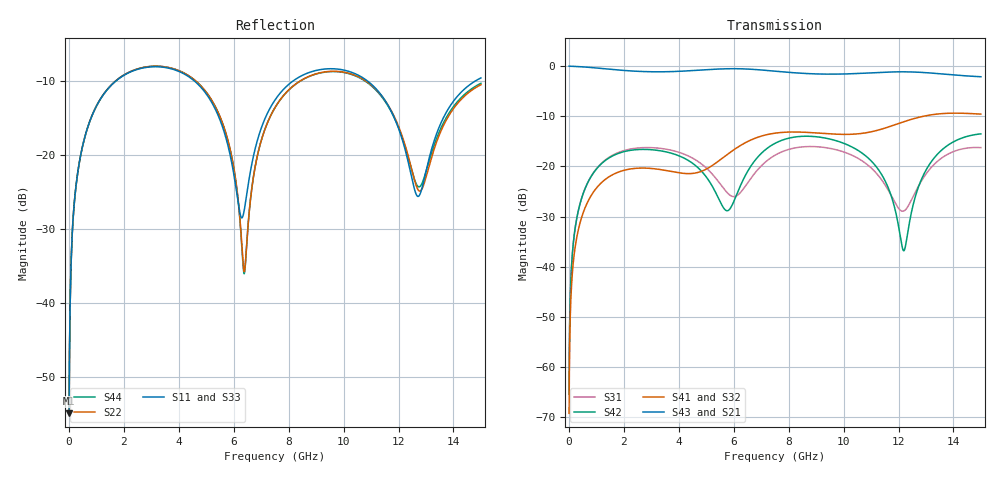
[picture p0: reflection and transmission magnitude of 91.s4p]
! Created with skrf 1.8.0 (http://scikit-rf.org).
# GHz S RI R 50.0
!freq ReS11 ImS11 ReS12 ImS12 ReS13 ImS13
! ReS14 ImS14
! ReS21 ImS21 ReS22 ImS22 ReS23 ImS23
! ReS24 ImS24
! ReS31 ImS31 ReS32 ImS32 ReS33 ImS33
! ReS34 ImS34
! ReS41 ImS41 ReS42 ImS42 ReS43 ImS43
! ReS44 ImS44
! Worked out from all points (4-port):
!   2499 points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, 5 MHz to 15 GHz, reference 50 ohm
!   strongest paths, dB at 5 MHz, 3.476 GHz, 7.19 GHz, 11.1 GHz, 15 GHz:
!     S43: 0.0, -1.1, -0.9, -1.3, -2.1
!     S21: 0.0, -1.1, -0.9, -1.3, -2.1
!     S41: -69.2, -20.7, -13.7, -13.0, -9.6
!     S32: -69.2, -20.8, -13.7, -13.0, -9.6
!     S42: -65.3, -17.0, -16.5, -19.4, -13.5
!     S31: -65.3, -16.5, -18.9, -20.8, -16.2
!   lowest |S11| = -55.0 dB at 5 MHz (marker M1), VSWR 1.00, Z = 50.1 + j0.109 ohm
!   |S11| at or under -10 dB: start of sweep to 1.711 GHz; 4.564 GHz to 8.163 GHz (3.599 GHz wide, 56.6 % of centre); 10.87 GHz to 14.8 GHz (3.934 GHz wide, 30.7 % of centre)
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0.005  0.00142 0.00108  0.9986 -0.00276  6.99e-05 0.000539  -6.8e-05 -0.000341
       0.9986 -0.00276  0.00142 0.00108  -6.8e-05 -0.000341  6.97e-05 0.000539
       6.99e-05 0.000539  -6.8e-05 -0.000341  0.00142 0.00108  0.9986 -0.00276
       -6.8e-05 -0.000341  6.97e-05 0.000539  0.9986 -0.00276  0.00142 0.00108
0.3626511  0.0235 0.0823  0.9677 -0.199  0.0109 0.037  -0.00884 -0.0232
           0.9677 -0.199  0.0236 0.0823  -0.00883 -0.0232  0.0102 0.0372
           0.0109 0.037  -0.00883 -0.0232  0.0235 0.0823  0.9677 -0.199
           -0.00884 -0.0232  0.0102 0.0372  0.9677 -0.199  0.0236 0.0823
1.619545  0.2387 0.1907  0.6136 -0.6904  0.1156 0.0614  -0.0821 -0.0162
          0.6136 -0.6904  0.2412 0.1893  -0.082 -0.0163  0.1076 0.0706
          0.1156 0.0614  -0.082 -0.0163  0.2388 0.1906  0.6136 -0.6903
          -0.0821 -0.0162  0.1076 0.0706  0.6136 -0.6903  0.2412 0.1893
6.333889  0.0378 0.00712  -0.937 -0.0583  -0.0415 0.0419  -0.00528 0.1673
          -0.937 -0.0583  0.0159 -0.0108  -0.00714 0.1671  0.051 0.0519
          -0.0415 0.0419  -0.00714 0.1671  0.0379 0.00804  -0.937 -0.0583
          -0.00528 0.1673  0.051 0.0519  -0.937 -0.0583  0.0154 -0.0101
10.31055  0.3424 -0.113  0.1907 0.8173  0.0969 -0.0855  0.1844 -0.0996
          0.1907 0.8173  0.3388 -0.0913  0.1852 -0.0948  0.0976 -0.122
          0.0969 -0.0855  0.1852 -0.0948  0.3408 -0.1157  0.1901 0.818
          0.1844 -0.0996  0.0976 -0.122  0.1901 0.818  0.3377 -0.0868
12.19258  0.0736 -0.0909  0.8032 0.3518  -0.0359 0.00291  0.1027 -0.2596
          0.8032 0.3518  0.0822 -0.0929  0.1095 -0.2568  -0.0141 0.00338
          -0.0359 0.00291  0.1095 -0.2568  0.0674 -0.0885  0.8036 0.352
          0.1027 -0.2596  -0.0141 0.00338  0.8036 0.352  0.0849 -0.0868
15  0.3107 0.1149  0.4497 -0.6448  0.1541 -0.00205  -0.3045 -0.1334
    0.4497 -0.6448  0.2762 0.112  -0.2996 -0.1411  0.2008 -0.0661
    0.1541 -0.00205  -0.2996 -0.1411  0.3166 0.1222  0.4493 -0.6418
    -0.3045 -0.1334  0.2008 -0.0661  0.4493 -0.6418  0.2822 0.1146
